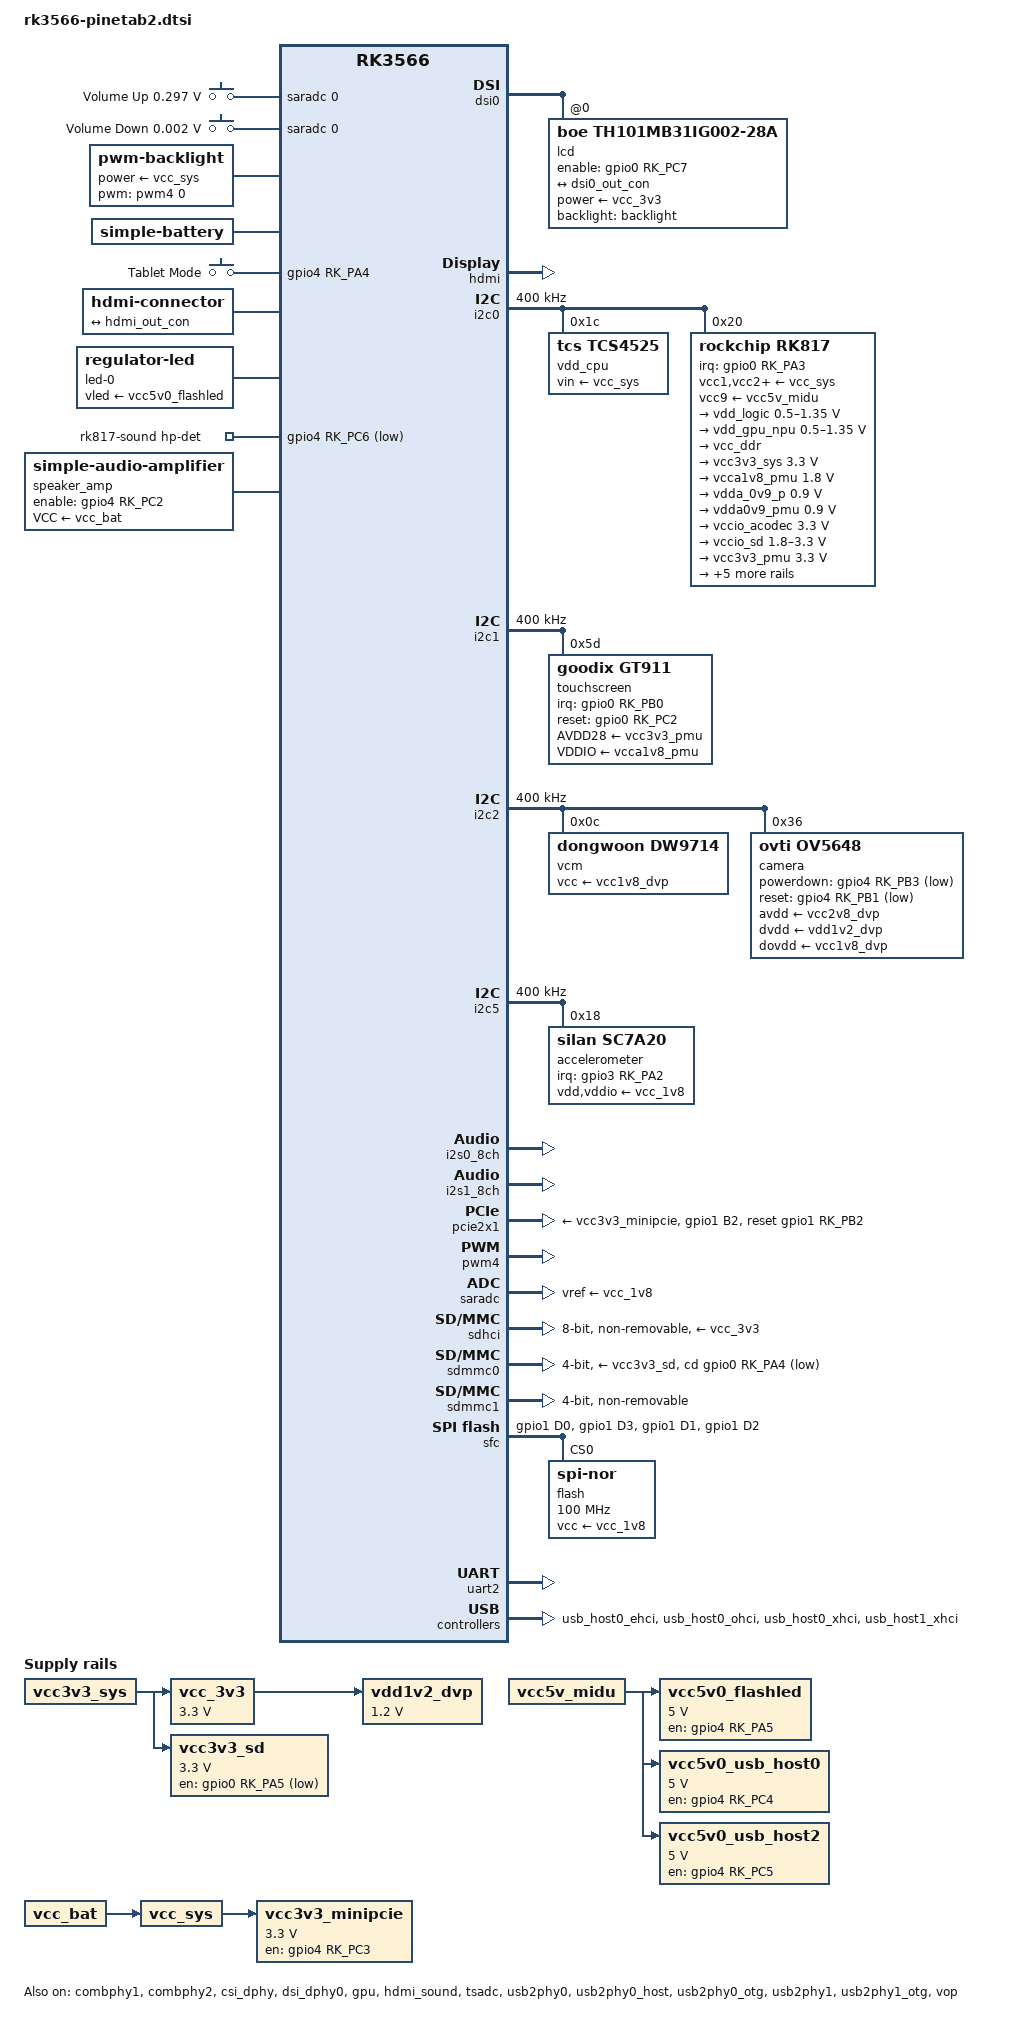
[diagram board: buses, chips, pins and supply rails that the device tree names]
// SPDX-License-Identifier: (GPL-2.0+ OR MIT)

#include <dt-bindings/gpio/gpio.h>
#include <dt-bindings/input/gpio-keys.h>
#include <dt-bindings/input/input.h>
#include <dt-bindings/leds/common.h>
#include <dt-bindings/pinctrl/rockchip.h>
#include <dt-bindings/soc/rockchip,vop2.h>
#include <dt-bindings/usb/pd.h>
#include "rk3566.dtsi"

/ {
	chassis-type = "tablet";

	aliases {
		mmc0 = &sdhci;
		mmc1 = &sdmmc0;
	};

	chosen {
		stdout-path = "serial2:1500000n8";
	};

	adc-keys {
		compatible = "adc-keys";
		io-channels = <&saradc 0>;
		io-channel-names = "buttons";
		keyup-threshold-microvolt = <1800000>;
		poll-interval = <25>;

		button-vol-up {
			label = "Volume Up";
			linux,code = <KEY_VOLUMEUP>;
			press-threshold-microvolt = <297500>;
		};

		button-vol-down {
			label = "Volume Down";
			linux,code = <KEY_VOLUMEDOWN>;
			press-threshold-microvolt = <1750>;
		};
	};

	backlight: backlight {
		compatible = "pwm-backlight";
		pwms = <&pwm4 0 25000 0>;
		brightness-levels = <20 220>;
		num-interpolated-steps = <200>;
		default-brightness-level = <100>;
		power-supply = <&vcc_sys>;
	};

	battery: battery {
		compatible = "simple-battery";
		charge-full-design-microamp-hours = <6000000>;
		charge-term-current-microamp = <300000>;
		constant-charge-current-max-microamp = <2000000>;
		constant-charge-voltage-max-microvolt = <4300000>;
		voltage-max-design-microvolt = <4350000>;
		voltage-min-design-microvolt = <3400000>;

		ocv-capacity-celsius = <20>;
		ocv-capacity-table-0 = <4322000 100>, <4250000 95>, <4192000 90>, <4136000 85>,
				       <4080000 80>, <4022000 75>, <3972000 70>, <3928000 65>,
				       <3885000 60>, <3833000 55>, <3798000 50>, <3780000 45>,
				       <3776000 40>, <3773000 35>, <3755000 30>, <3706000 25>,
				       <3640000 20>, <3589000 15>, <3535000 10>, <3492000 5>,
				       <3400000 0>;
	};

	gpio_keys: gpio-keys {
		compatible = "gpio-keys";
		pinctrl-names = "default";
		pinctrl-0 = <&kb_id_det>;

		tablet-mode-switch {
			debounce-interval = <20>;
			gpios = <&gpio4 RK_PA4 GPIO_ACTIVE_HIGH>;
			label = "Tablet Mode";
			linux,input-type = <EV_SW>;
			linux,code = <SW_TABLET_MODE>;
		};
	};

	hdmi-connector {
		compatible = "hdmi-connector";
		type = "d";

		port {
			hdmi_con_in: endpoint {
				remote-endpoint = <&hdmi_out_con>;
			};
		};
	};

	led-0 {
		compatible = "regulator-led";
		vled-supply = <&vcc5v0_flashled>;
		color = <LED_COLOR_ID_WHITE>;
		function = LED_FUNCTION_FLASH;
	};

	rk817-sound {
		compatible = "simple-audio-card";
		pinctrl-names = "default";
		pinctrl-0 = <&hp_det_l>;
		simple-audio-card,format = "i2s";
		simple-audio-card,name = "rk817_ext";
		simple-audio-card,mclk-fs = <256>;

		simple-audio-card,widgets =
			"Microphone", "Mic Jack",
			"Headphone", "Headphones",
			"Speaker", "Internal Speakers";

		simple-audio-card,routing =
			"MICR", "Mic Jack",
			"Headphones", "HPOL",
			"Headphones", "HPOR",
			"Internal Speakers", "Speaker Amplifier OUTL",
			"Internal Speakers", "Speaker Amplifier OUTR",
			"Speaker Amplifier INL", "HPOL",
			"Speaker Amplifier INR", "HPOR";
		simple-audio-card,hp-det-gpios = <&gpio4 RK_PC6 GPIO_ACTIVE_LOW>;
		simple-audio-card,aux-devs = <&speaker_amp>;
		simple-audio-card,pin-switches = "Internal Speakers";

		simple-audio-card,cpu {
			sound-dai = <&i2s1_8ch>;
		};

		simple-audio-card,codec {
			sound-dai = <&rk817>;
		};
	};

	speaker_amp: speaker-amplifier {
		compatible = "simple-audio-amplifier";
		pinctrl-names = "default";
		pinctrl-0 = <&spk_ctl>;
		enable-gpios = <&gpio4 RK_PC2 GPIO_ACTIVE_HIGH>;
		sound-name-prefix = "Speaker Amplifier";
		VCC-supply = <&vcc_bat>;
	};

	vcc_3v3: regulator-vcc-3v3 {
		compatible = "regulator-fixed";
		regulator-name = "vcc_3v3";
		regulator-always-on;
		regulator-boot-on;
		regulator-min-microvolt = <3300000>;
		regulator-max-microvolt = <3300000>;
		vin-supply = <&vcc3v3_sys>;
	};

	vcc3v3_minipcie: regulator-vcc3v3-minipcie {
		compatible = "regulator-fixed";
		enable-active-high;
		gpio = <&gpio4 RK_PC3 GPIO_ACTIVE_HIGH>;
		pinctrl-names = "default";
		pinctrl-0 = <&pcie_pwren_h>;
		regulator-name = "vcc3v3_minipcie";
		regulator-min-microvolt = <3300000>;
		regulator-max-microvolt = <3300000>;
		vin-supply = <&vcc_sys>;
	};

	vcc3v3_sd: regulator-vcc3v3-sd {
		compatible = "regulator-fixed";
		gpio = <&gpio0 RK_PA5 GPIO_ACTIVE_HIGH>;
		pinctrl-names = "default";
		pinctrl-0 = <&sdmmc_pwren_l>;
		regulator-name = "vcc3v3_sd";
		regulator-min-microvolt = <3300000>;
		regulator-max-microvolt = <3300000>;
		vin-supply = <&vcc3v3_sys>;
	};

	vcc5v0_flashled: regulator-vcc5v0-flashled {
		compatible = "regulator-fixed";
		enable-active-high;
		gpio = <&gpio4 RK_PA5 GPIO_ACTIVE_HIGH>;
		pinctrl-names = "default";
		pinctrl-0 = <&flash_led_en_h>;
		regulator-name = "vcc5v0_flashled";
		regulator-min-microvolt = <5000000>;
		regulator-max-microvolt = <5000000>;
		vin-supply = <&vcc5v_midu>;
	};

	vcc5v0_usb_host0: regulator-vcc5v0-usb-host0 {
		compatible = "regulator-fixed";
		enable-active-high;
		gpio = <&gpio4 RK_PC4 GPIO_ACTIVE_HIGH>;
		pinctrl-names = "default";
		pinctrl-0 = <&usb_host_pwren1_h>;
		regulator-name = "vcc5v0_usb_host0";
		regulator-min-microvolt = <5000000>;
		regulator-max-microvolt = <5000000>;
		vin-supply = <&vcc5v_midu>;
	};

	vcc5v0_usb_host2: regulator-vcc5v0-usb-host2 {
		compatible = "regulator-fixed";
		enable-active-high;
		gpio = <&gpio4 RK_PC5 GPIO_ACTIVE_HIGH>;
		pinctrl-names = "default";
		pinctrl-0 = <&usb_host_pwren2_h>;
		regulator-name = "vcc5v0_usb_host2";
		regulator-min-microvolt = <5000000>;
		regulator-max-microvolt = <5000000>;
		vin-supply = <&vcc5v_midu>;
	};

	vcc_bat: regulator-vcc-bat {
		compatible = "regulator-fixed";
		regulator-name = "vcc_bat";
		regulator-always-on;
		regulator-boot-on;
	};

	vcc_sys: regulator-vcc-sys {
		compatible = "regulator-fixed";
		regulator-name = "vcc_sys";
		regulator-always-on;
		regulator-boot-on;
		vin-supply = <&vcc_bat>;
	};

	vdd1v2_dvp: regulator-vdd1v2-dvp {
		compatible = "regulator-fixed";
		regulator-name = "vdd1v2_dvp";
		regulator-min-microvolt = <1200000>;
		regulator-max-microvolt = <1200000>;
		vin-supply = <&vcc_3v3>;
	};
};

&combphy1 {
	status = "okay";
};

&combphy2 {
	status = "okay";
};

&cpu0 {
	cpu-supply = <&vdd_cpu>;
};

&cpu1 {
	cpu-supply = <&vdd_cpu>;
};

&cpu2 {
	cpu-supply = <&vdd_cpu>;
};

&cpu3 {
	cpu-supply = <&vdd_cpu>;
};

&cru {
	assigned-clocks = <&pmucru CLK_RTC_32K>, <&cru PLL_GPLL>,
			  <&pmucru PLL_PPLL>, <&cru PLL_VPLL>;
	assigned-clock-rates = <32768>, <1200000000>, <200000000>, <500000000>;
	assigned-clock-parents = <&pmucru CLK_RTC32K_FRAC>;
};

&csi_dphy {
	status = "okay";
};

&dsi0 {
	status = "okay";
	clock-master;
	#address-cells = <1>;
	#size-cells = <0>;

	lcd: panel@0 {
		compatible = "boe,th101mb31ig002-28a";
		reg = <0>;
		backlight = <&backlight>;
		enable-gpios = <&gpio0 RK_PC7 GPIO_ACTIVE_HIGH>;
		power-supply = <&vcc_3v3>;
		rotation = <90>;

		port {
			panel_in_dsi: endpoint {
				remote-endpoint = <&dsi0_out_con>;
			};
		};
	};
};

&dsi0_in {
	dsi0_in_vp1: endpoint {
		remote-endpoint = <&vp1_out_dsi0>;
	};
};

&dsi0_out {
	dsi0_out_con: endpoint {
		remote-endpoint = <&panel_in_dsi>;
	};
};

&dsi_dphy0 {
	status = "okay";
};

&gpu {
	mali-supply = <&vdd_gpu_npu>;
	status = "okay";
};

&hdmi {
	avdd-0v9-supply = <&vdda_0v9_p>;
	avdd-1v8-supply = <&vcc_1v8>;
	status = "okay";
};

&hdmi_in {
	hdmi_in_vp0: endpoint {
		remote-endpoint = <&vp0_out_hdmi>;
	};
};

&hdmi_out {
	hdmi_out_con: endpoint {
		remote-endpoint = <&hdmi_con_in>;
	};
};

&hdmi_sound {
	status = "okay";
};

&i2c0 {
	clock-frequency = <400000>;
	status = "okay";

	vdd_cpu: regulator@1c {
		compatible = "tcs,tcs4525";
		reg = <0x1c>;
		fcs,suspend-voltage-selector = <1>;
		regulator-name = "vdd_cpu";
		regulator-min-microvolt = <800000>;
		regulator-max-microvolt = <1150000>;
		regulator-ramp-delay = <2300>;
		regulator-always-on;
		regulator-boot-on;
		vin-supply = <&vcc_sys>;

		regulator-state-mem {
			regulator-off-in-suspend;
		};
	};

	rk817: pmic@20 {
		compatible = "rockchip,rk817";
		reg = <0x20>;
		interrupt-parent = <&gpio0>;
		interrupts = <RK_PA3 IRQ_TYPE_LEVEL_LOW>;
		assigned-clocks = <&cru I2S1_MCLKOUT_TX>;
		assigned-clock-parents = <&cru CLK_I2S1_8CH_TX>;
		clock-names = "mclk";
		clocks = <&cru I2S1_MCLKOUT_TX>;
		clock-output-names = "rk808-clkout1", "rk808-clkout2";
		#clock-cells = <1>;
		pinctrl-names = "default";
		pinctrl-0 = <&pmic_int_l>, <&i2s1m0_mclk>;
		system-power-controller;
		#sound-dai-cells = <0>;
		wakeup-source;

		vcc1-supply = <&vcc_sys>;
		vcc2-supply = <&vcc_sys>;
		vcc3-supply = <&vcc_sys>;
		vcc4-supply = <&vcc_sys>;
		vcc5-supply = <&vcc_sys>;
		vcc6-supply = <&vcc_sys>;
		vcc7-supply = <&vcc_sys>;
		vcc8-supply = <&vcc_sys>;
		vcc9-supply = <&vcc5v_midu>;

		regulators {
			vdd_logic: DCDC_REG1 {
				regulator-always-on;
				regulator-boot-on;
				regulator-min-microvolt = <500000>;
				regulator-max-microvolt = <1350000>;
				regulator-ramp-delay = <6001>;
				regulator-initial-mode = <0x2>;
				regulator-name = "vdd_logic";
				regulator-state-mem {
					regulator-off-in-suspend;
				};
			};

			vdd_gpu_npu: DCDC_REG2 {
				regulator-min-microvolt = <500000>;
				regulator-max-microvolt = <1350000>;
				regulator-ramp-delay = <6001>;
				regulator-initial-mode = <0x2>;
				regulator-name = "vdd_gpu_npu";
				regulator-state-mem {
					regulator-off-in-suspend;
				};
			};

			vcc_ddr: DCDC_REG3 {
				regulator-always-on;
				regulator-boot-on;
				regulator-initial-mode = <0x2>;
				regulator-name = "vcc_ddr";
				regulator-state-mem {
					regulator-on-in-suspend;
				};
			};

			vcc3v3_sys: DCDC_REG4 {
				regulator-always-on;
				regulator-boot-on;
				regulator-min-microvolt = <3300000>;
				regulator-max-microvolt = <3300000>;
				regulator-initial-mode = <0x2>;
				regulator-name = "vcc3v3_sys";
				regulator-state-mem {
					regulator-off-in-suspend;
				};
			};

			vcca1v8_pmu: LDO_REG1 {
				regulator-always-on;
				regulator-boot-on;
				regulator-min-microvolt = <1800000>;
				regulator-max-microvolt = <1800000>;
				regulator-name = "vcca1v8_pmu";
				regulator-state-mem {
					regulator-on-in-suspend;
				};
			};

			vdda_0v9_p: LDO_REG2 {
				regulator-always-on;
				regulator-boot-on;
				regulator-min-microvolt = <900000>;
				regulator-max-microvolt = <900000>;
				regulator-name = "vdda_0v9_p";
				regulator-state-mem {
					regulator-off-in-suspend;
				};
			};

			vdda0v9_pmu: LDO_REG3 {
				regulator-always-on;
				regulator-boot-on;
				regulator-min-microvolt = <900000>;
				regulator-max-microvolt = <900000>;
				regulator-name = "vdda0v9_pmu";
				regulator-state-mem {
					regulator-on-in-suspend;
				};
			};

			vccio_acodec: LDO_REG4 {
				regulator-always-on;
				regulator-boot-on;
				regulator-min-microvolt = <3300000>;
				regulator-max-microvolt = <3300000>;
				regulator-name = "vccio_acodec";
				regulator-state-mem {
					regulator-off-in-suspend;
				};
			};

			vccio_sd: LDO_REG5 {
				regulator-always-on;
				regulator-boot-on;
				regulator-min-microvolt = <1800000>;
				regulator-max-microvolt = <3300000>;
				regulator-name = "vccio_sd";
				regulator-state-mem {
					regulator-off-in-suspend;
				};
			};

			vcc3v3_pmu: LDO_REG6 {
				regulator-always-on;
				regulator-boot-on;
				regulator-min-microvolt = <3300000>;
				regulator-max-microvolt = <3300000>;
				regulator-name = "vcc3v3_pmu";
				regulator-state-mem {
					regulator-on-in-suspend;
				};
			};

			vcc_1v8: LDO_REG7 {
				regulator-always-on;
				regulator-boot-on;
				regulator-min-microvolt = <1800000>;
				regulator-max-microvolt = <1800000>;
				regulator-name = "vcc_1v8";
				regulator-state-mem {
					regulator-off-in-suspend;
				};
			};

			vcc1v8_dvp: LDO_REG8 {
				regulator-always-on;
				regulator-boot-on;
				regulator-min-microvolt = <1800000>;
				regulator-max-microvolt = <1800000>;
				regulator-name = "vcc1v8_dvp";
				regulator-state-mem {
					regulator-off-in-suspend;
				};
			};

			vcc2v8_dvp: LDO_REG9 {
				regulator-always-on;
				regulator-boot-on;
				regulator-min-microvolt = <2800000>;
				regulator-max-microvolt = <2800000>;
				regulator-name = "vcc2v8_dvp";
				regulator-state-mem {
					regulator-off-in-suspend;
				};
			};

			vcc5v_midu: BOOST {
				regulator-always-on;
				regulator-boot-on;
				regulator-min-microvolt = <5000000>;
				regulator-max-microvolt = <5000000>;
				regulator-name = "boost";
				regulator-state-mem {
					regulator-off-in-suspend;
				};
			};

			vbus: OTG_SWITCH {
				regulator-min-microvolt = <5000000>;
				regulator-max-microvolt = <5000000>;
				regulator-name = "otg_switch";
				regulator-state-mem {
					regulator-off-in-suspend;
				};
			};
		};

		charger {
			monitored-battery = <&battery>;
			rockchip,resistor-sense-micro-ohms = <10000>;
			rockchip,sleep-enter-current-microamp = <300000>;
			rockchip,sleep-filter-current-microamp = <100000>;
		};
	};
};

&i2c1 {
	clock-frequency = <400000>;
	status = "okay";

	touchscreen@5d {
		compatible = "goodix,gt911";
		reg = <0x5d>;
		interrupt-parent = <&gpio0>;
		interrupts = <RK_PB0 IRQ_TYPE_EDGE_FALLING>;
		pinctrl-names = "default";
		pinctrl-0 = <&tp_int_l_pmuio2>, <&tp_rst_l_pmuio2>;
		AVDD28-supply = <&vcc3v3_pmu>;
		VDDIO-supply = <&vcca1v8_pmu>;
		irq-gpios = <&gpio0 RK_PB0 GPIO_ACTIVE_HIGH>;
		reset-gpios = <&gpio0 RK_PC2 GPIO_ACTIVE_HIGH>;
	};
};

&i2c2 {
	clock-frequency = <400000>;
	pinctrl-0 = <&i2c2m1_xfer>;
	status = "okay";

	vcm@c {
		compatible = "dongwoon,dw9714";
		reg = <0x0c>;
		vcc-supply = <&vcc1v8_dvp>;
	};

	camera@36 {
		compatible = "ovti,ov5648";
		reg = <0x36>;
		pinctrl-names = "default";
		pinctrl-0 = <&camerab_pdn_l &camerab_rst_l>;

		clocks = <&cru CLK_CIF_OUT>;
		assigned-clocks = <&cru CLK_CIF_OUT>;
		assigned-clock-rates = <24000000>;

		avdd-supply = <&vcc2v8_dvp>;
		dvdd-supply = <&vdd1v2_dvp>;
		dovdd-supply = <&vcc1v8_dvp>;
		powerdown-gpios = <&gpio4 RK_PB3 GPIO_ACTIVE_LOW>;
		reset-gpios = <&gpio4 RK_PB1 GPIO_ACTIVE_LOW>;

		port {
			endpoint {
				data-lanes = <1 2>;
				remote-endpoint = <0>;
				link-frequencies = /bits/ 64 <210000000 168000000>;
			};
		};
	};
};

&i2c5 {
	clock-frequency = <400000>;
	status = "okay";

	accelerometer@18 {
		compatible = "silan,sc7a20";
		reg = <0x18>;
		interrupt-parent = <&gpio3>;
		interrupts = <RK_PA2 IRQ_TYPE_LEVEL_LOW>;
		pinctrl-names = "default";
		pinctrl-0 = <&gsensor_int_l>;
		st,drdy-int-pin = <1>;
		vdd-supply = <&vcc_1v8>;
		vddio-supply = <&vcc_1v8>;
		mount-matrix = "1", "0", "0",
			       "0", "0", "1",
			       "0", "1", "0";
	};
};

&i2s0_8ch {
	status = "okay";
};

&i2s1_8ch {
	pinctrl-names = "default";
	pinctrl-0 = <&i2s1m0_sclktx
		     &i2s1m0_lrcktx
		     &i2s1m0_sdi0
		     &i2s1m0_sdo0>;
	rockchip,trcm-sync-tx-only;
	status = "okay";
};

&pcie2x1 {
	pinctrl-names = "default";
	pinctrl-0 = <&pcie_reset_h>;
	reset-gpios = <&gpio1 RK_PB2 GPIO_ACTIVE_HIGH>;
	vpcie3v3-supply = <&vcc3v3_minipcie>;
	status = "okay";
};

&pinctrl {
	camerab {
		camerab_pdn_l: camerab-pdn-l {
			rockchip,pins = <4 RK_PB3 RK_FUNC_GPIO &pcfg_pull_none>;
		};

		camerab_rst_l: camerab-rst-l {
			rockchip,pins = <4 RK_PB1 RK_FUNC_GPIO &pcfg_pull_none>;
		};
	};

	cameraf {
		cameraf_pdn_l: cameraf-pdn-l {
			rockchip,pins = <4 RK_PB2 RK_FUNC_GPIO &pcfg_pull_none>;
		};

		cameraf_rst_l: cameraf-rst-l {
			rockchip,pins = <4 RK_PB0 RK_FUNC_GPIO &pcfg_pull_none>;
		};
	};

	flash {
		flash_led_en_h: flash-led-en-h {
			rockchip,pins = <4 RK_PA5 RK_FUNC_GPIO &pcfg_pull_none>;
		};
	};

	fspi {
		fspi_dual_io_pins: fspi-dual-io-pins {
			rockchip,pins =
				/* fspi_clk */
				<1 RK_PD0 1 &pcfg_pull_none>,
				/* fspi_cs0n */
				<1 RK_PD3 1 &pcfg_pull_none>,
				/* fspi_d0 */
				<1 RK_PD1 1 &pcfg_pull_none>,
				/* fspi_d1 */
				<1 RK_PD2 1 &pcfg_pull_none>;
		};
	};

	gsensor {
		gsensor_int_l: gsensor-int-l {
			rockchip,pins = <3 RK_PA2 RK_FUNC_GPIO &pcfg_pull_up>;
		};
	};

	kb {
		kb_id_det: kb-id-det {
			rockchip,pins = <4 RK_PA4 RK_FUNC_GPIO &pcfg_pull_none>;
		};
	};

	lcd {
		lcd_pwren_h: lcd-pwren-h {
			rockchip,pins = <0 RK_PC7 RK_FUNC_GPIO &pcfg_pull_none>;
		};
	};

	pcie {
		pcie_pwren_h: pcie-pwren-h {
			rockchip,pins = <4 RK_PC3 RK_FUNC_GPIO &pcfg_pull_none>;
		};

		pcie_reset_h: pcie-reset-h {
			rockchip,pins = <1 RK_PB2 RK_FUNC_GPIO &pcfg_pull_none>;
		};
	};

	pmic {
		pmic_int_l: pmic-int-l {
			rockchip,pins = <0 RK_PA3 RK_FUNC_GPIO &pcfg_pull_up>;
		};
	};

	sdmmc {
		sdmmc_pwren_l: sdmmc-pwren-l {
			rockchip,pins = <0 RK_PA5 RK_FUNC_GPIO &pcfg_pull_none>;
		};
	};

	sound {
		hp_det_l: hp-det-l {
			rockchip,pins = <4 RK_PC6 RK_FUNC_GPIO &pcfg_pull_none>;
		};

		spk_ctl: spk-ctl {
			rockchip,pins = <4 RK_PC2 RK_FUNC_GPIO &pcfg_pull_none>;
		};
	};

	tp {
		tp_int_l_pmuio2: tp-int-l-pmuio2 {
			rockchip,pins = <0 RK_PB0 RK_FUNC_GPIO &pcfg_pull_up>;
		};

		tp_rst_l_pmuio2: tp-rst-l-pmuio2 {
			rockchip,pins = <0 RK_PC2 RK_FUNC_GPIO &pcfg_pull_none>;
		};
	};

	usb {
		usbcc_int_l: usbcc-int-l {
			rockchip,pins = <0 RK_PC5 RK_FUNC_GPIO &pcfg_pull_none>;
		};

		usb_host_pwren1_h: usb-host-pwren1-h {
			rockchip,pins = <4 RK_PC4 RK_FUNC_GPIO &pcfg_pull_none>;
		};

		usb_host_pwren2_h: usb-host-pwren2-h {
			rockchip,pins = <4 RK_PC5 RK_FUNC_GPIO &pcfg_pull_none>;
		};
	};

	wifi {
		host_wake_wl: host-wake-wl {
			rockchip,pins = <0 RK_PB7 RK_FUNC_GPIO &pcfg_pull_none>;
		};

		wifi_wake_host_h: wifi-wake-host-h {
			rockchip,pins = <0 RK_PC4 RK_FUNC_GPIO &pcfg_pull_down>;
		};
	};
};

&pmu_io_domains {
	pmuio1-supply = <&vcc3v3_pmu>;
	pmuio2-supply = <&vcca1v8_pmu>;
	vccio1-supply = <&vccio_acodec>;
	vccio2-supply = <&vcc_1v8>;
	vccio3-supply = <&vccio_sd>;
	vccio4-supply = <&vcca1v8_pmu>;
	vccio5-supply = <&vcc_1v8>;
	vccio6-supply = <&vcc1v8_dvp>;
	vccio7-supply = <&vcc_3v3>;
	status = "okay";
};

&pwm4 {
	status = "okay";
};

&saradc {
	vref-supply = <&vcc_1v8>;
	status = "okay";
};

&sdhci {
	bus-width = <8>;
	no-sdio;
	no-sd;
	non-removable;
	max-frequency = <200000000>;
	mmc-hs200-1_8v;
	pinctrl-names = "default";
	pinctrl-0 = <&emmc_bus8
		     &emmc_clk
		     &emmc_cmd
		     &emmc_datastrobe
		     &emmc_rstnout>;
	vmmc-supply = <&vcc_3v3>;
	vqmmc-supply = <&vcc_1v8>;
	status = "okay";
};

&sdmmc0 {
	bus-width = <4>;
	cap-sd-highspeed;
	cd-gpios = <&gpio0 RK_PA4 GPIO_ACTIVE_LOW>;
	disable-wp;
	pinctrl-names = "default";
	pinctrl-0 = <&sdmmc0_bus4
		     &sdmmc0_clk
		     &sdmmc0_cmd
		     &sdmmc0_det>;
	sd-uhs-sdr104;
	vmmc-supply = <&vcc3v3_sd>;
	vqmmc-supply = <&vccio_sd>;
	status = "okay";
};

&sdmmc1 {
	bus-width = <4>;
	cap-sd-highspeed;
	cap-sdio-irq;
	keep-power-in-suspend;
	non-removable;
	pinctrl-names = "default";
	pinctrl-0 = <&sdmmc1_bus4
		     &sdmmc1_cmd
		     &sdmmc1_clk>;
	sd-uhs-sdr104;
	vqmmc-supply = <&vcca1v8_pmu>;
	status = "okay";
};

&sfc {
	pinctrl-names = "default";
	pinctrl-0 = <&fspi_dual_io_pins>;
	status = "okay";
	#address-cells = <1>;
	#size-cells = <0>;

	flash@0 {
		compatible = "jedec,spi-nor";
		reg = <0>;
		spi-max-frequency = <100000000>;
		spi-rx-bus-width = <2>;
		spi-tx-bus-width = <1>;
		vcc-supply = <&vcc_1v8>;
	};
};

&tsadc {
	rockchip,hw-tshut-mode = <1>;
	rockchip,hw-tshut-polarity = <0>;
	status = "okay";
};

&uart2 {
	status = "okay";
};

&usb_host0_ehci {
	status = "okay";
};

&usb_host0_ohci {
	status = "okay";
};

&usb_host0_xhci {
	status = "okay";
};

&usb_host1_xhci {
	status = "okay";
};

&usb2phy0 {
	status = "okay";
};

&usb2phy0_host {
	phy-supply = <&vcc5v0_usb_host0>;
	status = "okay";
};

&usb2phy0_otg {
	status = "okay";
};

&usb2phy1 {
	status = "okay";
};

&usb2phy1_otg {
	phy-supply = <&vcc5v0_usb_host2>;
	status = "okay";
};

&vop {
	assigned-clocks = <&cru DCLK_VOP0>, <&cru DCLK_VOP1>;
	assigned-clock-parents = <&pmucru PLL_HPLL>, <&cru PLL_VPLL>;
	status = "okay";
};

&vop_mmu {
	status = "okay";
};

&vp0 {
	vp0_out_hdmi: endpoint@ROCKCHIP_VOP2_EP_HDMI0 {
		reg = <ROCKCHIP_VOP2_EP_HDMI0>;
		remote-endpoint = <&hdmi_in_vp0>;
	};
};

&vp1 {
	vp1_out_dsi0: endpoint@ROCKCHIP_VOP2_EP_MIPI0 {
		reg = <ROCKCHIP_VOP2_EP_MIPI0>;
		remote-endpoint = <&dsi0_in_vp1>;
	};
};
